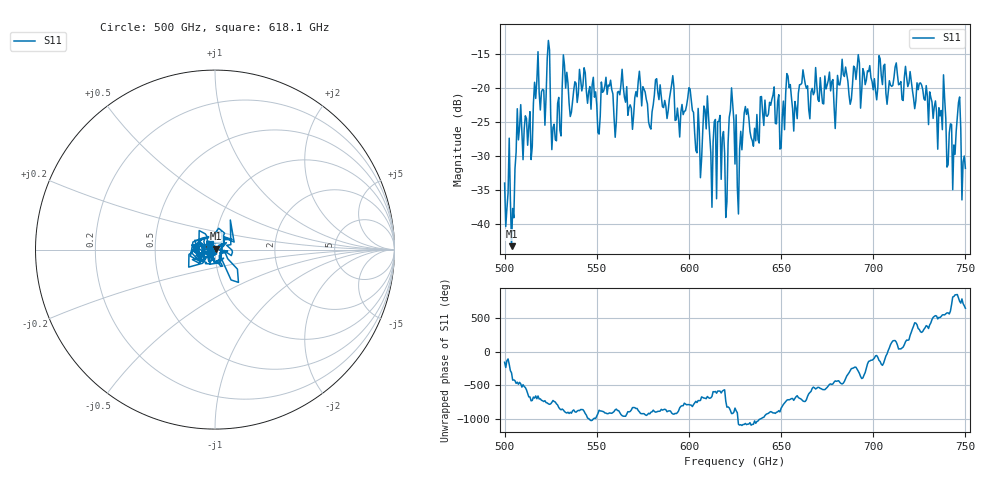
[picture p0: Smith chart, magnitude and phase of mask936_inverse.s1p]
!Created with skrf (http://scikit-rf.org).
# GHz S MA R 50.0
!freq magS11 angS11
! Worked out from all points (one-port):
!   401 points, 500 GHz to 750 GHz, reference 50 ohm
!   lowest |S11| = -43.2 dB at 503.8 GHz (marker M1), VSWR 1.01, Z = 50.5 + j0.519 ohm
!   |S11| at or under -10 dB: start of sweep to end of sweep
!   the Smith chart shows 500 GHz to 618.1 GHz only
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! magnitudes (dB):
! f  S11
! 500 GHz  -33.9
! 503.8 GHz  -43.2
! 507.5 GHz  -27.6
! 513.8 GHz  -23.4
! 516.9 GHz  -21.5
! 523.8 GHz  -13.0
! 526.9 GHz  -25.3
! 531.2 GHz  -19.7
! 562.5 GHz  -21.0
! 579.4 GHz  -26.0
! 590.6 GHz  -19.5
! 593.8 GHz  -22.9
! 600.6 GHz  -20.1
! 605.6 GHz  -26.3
! 609.4 GHz  -26.0
! 620 GHz  -39.0
! 623.1 GHz  -19.9
! 625 GHz  -31.1
! 627.5 GHz  -29.0
! 631.2 GHz  -23.8
! 635 GHz  -28.5
! 656.2 GHz  -23.0
! 687.5 GHz  -22.3
! 718.8 GHz  -19.7
! 738.1 GHz  -18.0
! 741.9 GHz  -25.2
! 746.2 GHz  -22.1
! 750 GHz  -31.8
